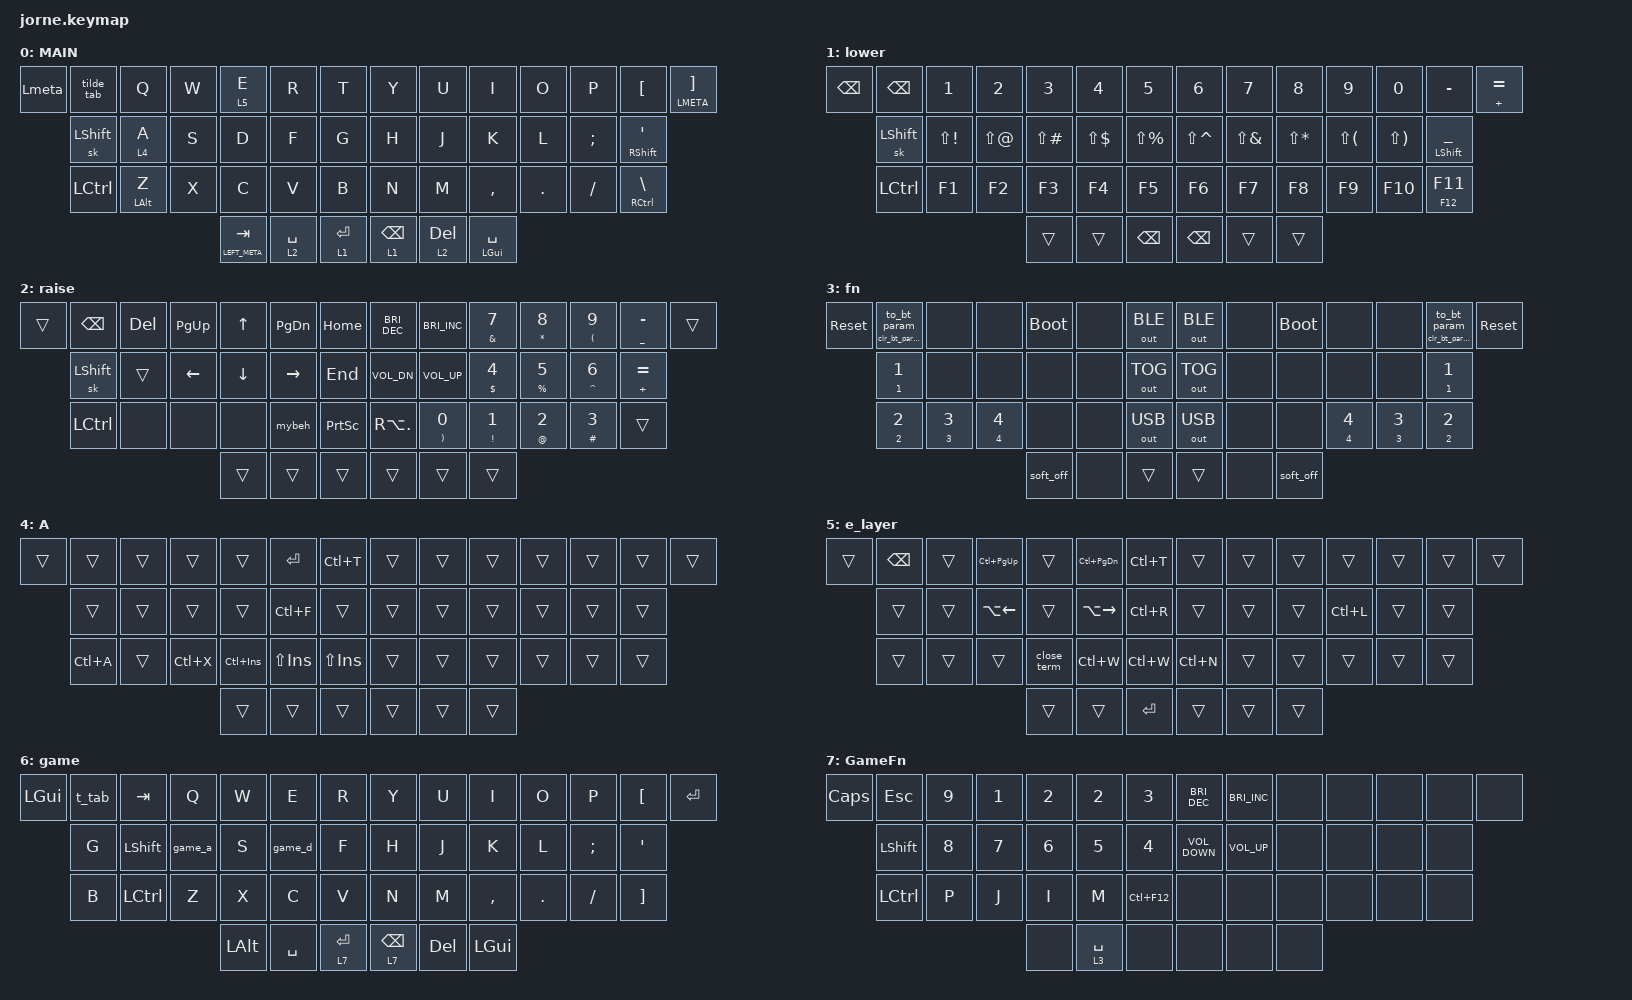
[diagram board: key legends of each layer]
/*
 * Copyright (c) 2020 The ZMK Contributors
 *
 * SPDX-License-Identifier: MIT
 */

#include <behaviors.dtsi>
#include <dt-bindings/zmk/bt.h>
#include <dt-bindings/zmk/keys.h>
#include <dt-bindings/zmk/outputs.h>

#define DEF 0
#define LWR 1
#define RSE 2
#define ADJ 3

&lt { quick-tap-ms = <200>; };

/ {
    combos {
        compatible = "zmk,combos";

        game_mod_on {
            bindings = <&to 6>;
            key-positions = <6 5 39>;
            layers = <0>;
        };

        game_mod_off {
            bindings = <&to 0>;
            key-positions = <6 5 40>;
        };

        Esc {
            bindings = <&kp ESCAPE>;
            key-positions = <1 2>;
        };

        ins {
            bindings = <&kp INS>;
            key-positions = <7 20>;
        };

        slash {
            bindings = <&kp RA(SLASH)>;
            key-positions = <6 19>;
        };

        grep {
            bindings = <&tp_grep>;
            key-positions = <19 5>;
            layers = <0 2 1>;
        };

        CapsWord {
            bindings = <&caps_word>;
            key-positions = <18 21>;
        };

        LMeta {
            bindings = <&kp LGUI>;
            key-positions = <0 14>;
        };

        Backspace {
            bindings = <&kp BACKSPACE>;
            key-positions = <11 12>;
        };

        enter {
            bindings = <&kp RET>;
            key-positions = <24 25>;
        };

        pipe {
            bindings = <&kp RA(PIPE)>;
            key-positions = <36 37>;
        };

        softoff {
            bindings = <&soft_off>;
            key-positions = <28 29 30 31>;
        };

        Copy {
            bindings = <&kp LC(INS)>;
            key-positions = <28 29>;
        };

        Paste {
            bindings = <&kp LS(INS)>;
            key-positions = <29 30>;
        };

        at {
            bindings = <&kp AT_SIGN>;
            key-positions = <2 3>;
        };

        minus {
            bindings = <&mt UNDERSCORE MINUS>;
            key-positions = <8 9>;
        };

        LPare {
            bindings = <&kp LEFT_PARENTHESIS>;
            key-positions = <21 22>;
        };

        RPare {
            bindings = <&kp RIGHT_PARENTHESIS>;
            key-positions = <22 23>;
        };

        Plus {
            bindings = <&mt EQUAL PLUS>;
            key-positions = <9 10>;
        };

        Dot {
            bindings = <&kp RA(DOT)>;
            key-positions = <33 32>;
        };

        Question {
            bindings = <&kp RA(QUESTION)>;
            key-positions = <7 8>;
        };

        Comma {
            bindings = <&kp RA(COMMA)>;
            key-positions = <20 21>;
        };

        LBrac {
            bindings = <&mt LEFT_BRACE LEFT_BRACKET>;
            key-positions = <33 34>;
        };

        RBrac {
            bindings = <&mt RIGHT_BRACE RIGHT_BRACKET>;
            key-positions = <34 35>;
        };

        Quotes {
            bindings = <&kp RA(SQT)>;
            key-positions = <24 23>;
        };

        ret {
            bindings = <&kp RET>;
            key-positions = <21 22 23>;
        };

        bspace2 {
            bindings = <&kp BACKSPACE>;
            key-positions = <16 17 18>;
            layers = <0 1 2>;
        };
    };

    behaviors {
        mybeh: mybeh {
            compatible = "zmk,behavior-tri-state";
            label = "TRI-STATE";
            #binding-cells = <0>;
            bindings = <&kp LALT>, <&kp TAB>, <&kt LALT>;
        };

        tilde_tab: tilde_tab {
            compatible = "zmk,behavior-mod-morph";
            label = "TILDE_TAB";
            bindings = <&kp GRAVE>, <&kp TAB>;

            #binding-cells = <0>;
            mods = <(MOD_LALT|MOD_RALT|MOD_RGUI|MOD_LGUI)>;
            keep-mods = <(MOD_LALT|MOD_RALT|MOD_LGUI|MOD_RGUI)>;
        };

        bt_mt: bt_mt {
            compatible = "zmk,behavior-hold-tap";
            label = "tap:select,hold:clear";
            bindings = <&clr_bt_param>, <&to_bt_param>;

            #binding-cells = <2>;
            tapping-term-ms = <5000>;
        };

        Lmeta: Lmeta {
            compatible = "zmk,behavior-mod-morph";
            label = "LMETA";
            bindings = <&mt LEFT_META LG(SPACE)>, <&kp LS(TAB)>;

            #binding-cells = <0>;
            mods = <(MOD_LGUI|MOD_RGUI)>;
            keep-mods = <(MOD_LGUI)>;
        };

        t_tab: t_tab {
            compatible = "zmk,behavior-mod-morph";
            label = "T_TAB";
            bindings = <&kp T>, <&kp TAB>;

            #binding-cells = <0>;
            mods = <(MOD_LALT|MOD_RALT|MOD_RGUI|MOD_LGUI)>;
            keep-mods = <(MOD_LALT|MOD_RALT|MOD_LGUI|MOD_RGUI)>;
        };
    };

    macros {
        tp_less: tp_less {
            compatible = "zmk,behavior-macro";
            #binding-cells = <0>;
            bindings = <&kp RA(L) &kp RA(E) &kp RA(S) &kp RA(S) &kp SPACE>;
            label = "TP_LESS";
        };

        tp_grep: tp_grep {
            compatible = "zmk,behavior-macro";
            #binding-cells = <0>;
            bindings = <&kp SPACE &kp G &kp R &kp E &kp P &kp SPACE>;
            label = "TP_GREP";
        };

        tp_trade: tp_trade {
            compatible = "zmk,behavior-macro";
            #binding-cells = <0>;
            bindings = <&kp RA(T) &kp RA(R) &kp RA(A) &kp RA(D) &kp RA(E)>;
            label = "TP_TRADE";
        };

        to_bt_param: to_bt_param {
            compatible = "zmk,behavior-macro-one-param";
            #binding-cells = <1>;
            bindings =
                <&macro_press>,
                <&out OUT_BLE &macro_param_1to2>,
                <&macro_press>,
                <&bt BT_SEL MACRO_PLACEHOLDER>;

            label = "TO_BT_PARAM";
        };

        clr_bt_param: clr_bt_param {
            compatible = "zmk,behavior-macro-one-param";
            #binding-cells = <1>;
            bindings =
                <&macro_press>,
                <&out OUT_BLE &macro_param_1to2>,
                <&macro_press>,
                <&bt BT_SEL MACRO_PLACEHOLDER>,
                <&macro_press>,
                <&bt BT_CLR>;

            label = "CLR_BT_PARAM";
        };

        mo_at: momentary_release_alt {
            compatible = "zmk,behavior-macro";
            #binding-cells = <0>;
            bindings =
                <&macro_press>,
                <&mo 0>,
                <&macro_pause_for_release>,
                <&macro_release>,
                <&kp LEFT_META>,
                <&macro_tap>,
                <&to 0>;

            label = "momentary_release_alt";
        };

        close_term: close_term {
            compatible = "zmk,behavior-macro";
            #binding-cells = <0>;
            bindings = <&kp Q &kp LC(C) &kp LC(D)>;
            label = "CLOSE_TERM";
        };

        game_d: game_d {
            compatible = "zmk,behavior-macro";
            #binding-cells = <0>;
            bindings =
                <&macro_release>,
                <&kp A>,
                <&macro_press>,
                <&kp D>,
                <&macro_pause_for_release>,
                <&macro_release>,
                <&kp D>;

            label = "GAME_D";
        };

        game_a: game_a {
            compatible = "zmk,behavior-macro";
            #binding-cells = <0>;
            bindings =
                <&macro_release>,
                <&kp D>,
                <&macro_press>,
                <&kp A>,
                <&macro_pause_for_release>,
                <&macro_release>,
                <&kp A>;

            label = "GAME_A";
        };
    };

    keymap {
        compatible = "zmk,keymap";

        main {
            // -----------------------------------------------------------------------------------------
            // |  GUI |   ~  |  Q  |  W  |  E  |  R  |  T  |   |  Y  |  U   |  I  |  O  |  P  |  [   | GUI/] |
            //        | CTRL |  A  |  S  |  D  |  F  |  G  |   |  H  |  J   |  K  |  L  |  ;  |CTRL/'|
            //        | LALT |  Z  |  X  |  C  |  V  |  B  |   |  N  |  M   |  ,  |  .  |  /  | RALT |
            //                           | RSE | SPC | LWR |   | LWR | BKSP | RSE |

            bindings = <
&Lmeta  &tilde_tab  &kp Q           &kp W  &lt 5 E            &kp R        &kp T        &kp Y            &kp U         &kp I               &kp O    &kp P     &kp LBKT             &mt LMETA RBKT
        &sk LSHIFT  &lt 4 A         &kp S  &kp D              &kp F        &kp G        &kp H            &kp J         &kp K               &kp L    &kp SEMI  &mt RSHIFT SQT
        &kp LCTRL   &mt LEFT_ALT Z  &kp X  &kp C              &kp V        &kp B        &kp N            &kp M         &kp COMMA           &kp DOT  &kp FSLH  &mt RCTRL BACKSLASH
                                           &mt LEFT_META TAB  &lt 2 SPACE  &lt 1 RET    &lt 1 BACKSPACE  &lt 2 DELETE  &mt LEFT_GUI SPACE
            >;

            label = "MAIN";
        };

        lower {
            // -----------------------------------------------------------------------------------------
            // |     |  _  |  F1 |  F2 |  F3 |  F4 |  F5 |   |  F6 |  F7 |  F8 |  F9 | F10 | F11 | F12 |
            //       |  +  |  !  |  @  |  #  |  $  |  %  |   |  ^  |  &  |  *  |  (  |  )  |  -  |
            //       |  =  |  1  |  2  |  3  |  4  |  5  |   |  6  |  7  |  8  |  9  |  0  |     |
            //                    | GUI |     | SPC |   | ENT |     | ALT |

            bindings = <
&kp BACKSPACE  &kp BACKSPACE  &kp N1        &kp N2      &kp N3         &kp N4        &kp N5           &kp N6         &kp N7        &kp N8        &kp N9        &kp N0        &kp MINUS             &mt PLUS EQUAL
               &sk LSHFT      &kp LS(EXCL)  &kp LS(AT)  &kp LS(POUND)  &kp LS(DLLR)  &kp LS(PRCNT)    &kp LS(CARET)  &kp LS(AMPS)  &kp LS(STAR)  &kp LS(LPAR)  &kp LS(RPAR)  &mt LSHFT UNDERSCORE
               &kp LCTRL      &kp F1        &kp F2      &kp F3         &kp F4        &kp F5           &kp F6         &kp F7        &kp F8        &kp F9        &kp F10       &mt F12 F11
                                                        &trans         &trans        &kp BACKSPACE    &kp BACKSPACE  &trans        &trans
            >;
        };

        raise {
            // -----------------------------------------------------------------------------------------
            // |     | NMLK |  /  |  7  |  8  |  9  |  -  |   | VOLU| HOME| PRSC| PGUP| SCLK| CLCK|     |
            //       | CTRL |  *  |  4  |  5  |  6  |  +  |   | MUT | LEFT|  UP | RGHT| INS | APP |
            //       |      |  0  |  1  |  2  |  3  |  .  |   | VOLD| END | DOWN| PGDN| PAUS|     |
            //                          |     |     | ADJ |   | ADJ |     |     |

            bindings = <
&trans  &kp BSPC    &kp DEL  &kp PG_UP  &kp UP    &kp PG_DN  &kp HOME           &kp C_BRIGHTNESS_DEC  &kp C_BRIGHTNESS_INC      &mt AMPERSAND N7    &mt ASTERISK N8  &mt LEFT_PARENTHESIS N9  &mt UNDERSCORE MINUS  &trans
        &sk LSHIFT  &trans   &kp LEFT   &kp DOWN  &kp RIGHT  &kp END            &kp C_VOL_DN          &kp C_VOL_UP              &mt DOLLAR N4       &mt PERCENT N5   &mt CARET N6             &mt PLUS EQUAL
        &kp LCTRL   &none    &none      &none     &mybeh     &kp PRINTSCREEN    &kp RA(PERIOD)        &mt RIGHT_PARENTHESIS N0  &mt EXCLAMATION N1  &mt AT_SIGN N2   &mt HASH N3              &trans
                                        &trans    &trans     &trans             &trans                &trans                    &trans
            >;
        };

        fn {
            // -----------------------------------------------------------------------------------------
            // | RST | BLDR |     |     |     |     |     |   |     |     |     |     |     | BLDR | RST |
            //       | BTCLR| BT0 | BT1 | BT2 | BT3 | BT4 |   | BT4 | BT3 | BT2 | BT1 | BT0 | BTCLR|
            //       |      |     |     |     |     |     |   |     |     |     |     |     |      |
            //                          |     |     |     |   |     |     |     |

            bindings = <
&sys_reset  &bt_mt 0 0  &none       &none       &bootloader  &none  &out OUT_BLE    &out OUT_BLE  &none  &bootloader  &none       &none       &bt_mt 0 0  &sys_reset
            &bt_mt 1 1  &none       &none       &none        &none  &out OUT_TOG    &out OUT_TOG  &none  &none        &none       &none       &bt_mt 1 1
            &bt_mt 2 2  &bt_mt 3 3  &bt_mt 4 4  &none        &none  &out OUT_USB    &out OUT_USB  &none  &none        &bt_mt 4 4  &bt_mt 3 3  &bt_mt 2 2
                                                &soft_off    &none  &trans          &trans        &none  &soft_off
            >;
        };

        a_layer {
            bindings = <
&trans  &trans     &trans  &trans     &trans       &kp RET      &kp LC(T)      &trans  &trans  &trans  &trans  &trans  &trans  &trans
        &trans     &trans  &trans     &trans       &kp LC(F)    &trans         &trans  &trans  &trans  &trans  &trans  &trans
        &kp LC(A)  &trans  &kp LC(X)  &kp LC(INS)  &kp LS(INS)  &kp LS(INS)    &trans  &trans  &trans  &trans  &trans  &trans
                                      &trans       &trans       &trans         &trans  &trans  &trans
            >;

            label = "A";
        };

        e_layer {
            bindings = <
&trans  &kp BACKSPACE  &trans  &kp LC(PG_UP)       &trans       &kp LC(PG_DN)  &kp LC(T)    &trans     &trans  &trans  &trans     &trans  &trans  &trans
        &trans         &trans  &kp LA(LEFT_ARROW)  &trans       &kp LA(RIGHT)  &kp LC(R)    &trans     &trans  &trans  &kp LC(L)  &trans  &trans
        &trans         &trans  &trans              &close_term  &kp LC(W)      &kp LC(W)    &kp LC(N)  &trans  &trans  &trans     &trans  &trans
                                                   &trans       &trans         &kp RET      &trans     &trans  &trans
            >;
        };

        game {
            bindings = <
&kp LGUI  &t_tab  &kp TAB    &kp Q    &kp W     &kp E      &kp R          &kp Y            &kp U       &kp I      &kp O    &kp P     &kp LBKT  &kp RET
          &kp G   &kp LSHFT  &game_a  &kp S     &game_d    &kp F          &kp H            &kp J       &kp K      &kp L    &kp SEMI  &kp SQT
          &kp B   &kp LCTRL  &kp Z    &kp X     &kp C      &kp V          &kp N            &kp M       &kp COMMA  &kp DOT  &kp FSLH  &kp RBKT
                                      &kp LALT  &kp SPACE  &lt 7 ENTER    &lt 7 BACKSPACE  &kp DELETE  &kp LGUI
            >;
        };

        GameFn {
            bindings = <
&kp CAPS  &kp ESCAPE      &kp N9  &kp N1  &kp N2  &kp N2       &kp N3         &kp C_BRIGHTNESS_DEC  &kp C_BRIGHTNESS_INC  &none  &none  &none  &none  &none
          &kp LEFT_SHIFT  &kp N8  &kp N7  &kp N6  &kp N5       &kp N4         &kp C_VOLUME_DOWN     &kp C_VOLUME_UP       &none  &none  &none  &none
          &kp LCTRL       &kp P   &kp J   &kp I   &kp M        &kp LC(F12)    &none                 &none                 &none  &none  &none  &none
                                          &none   &lt 3 SPACE  &none          &none                 &none                 &none
            >;
        };
    };

    conditional_layers {
        compatible = "zmk,conditional-layers";

        Fn {
            if-layers = <1 2>;
            then-layer = <3>;
        };
    };
};
